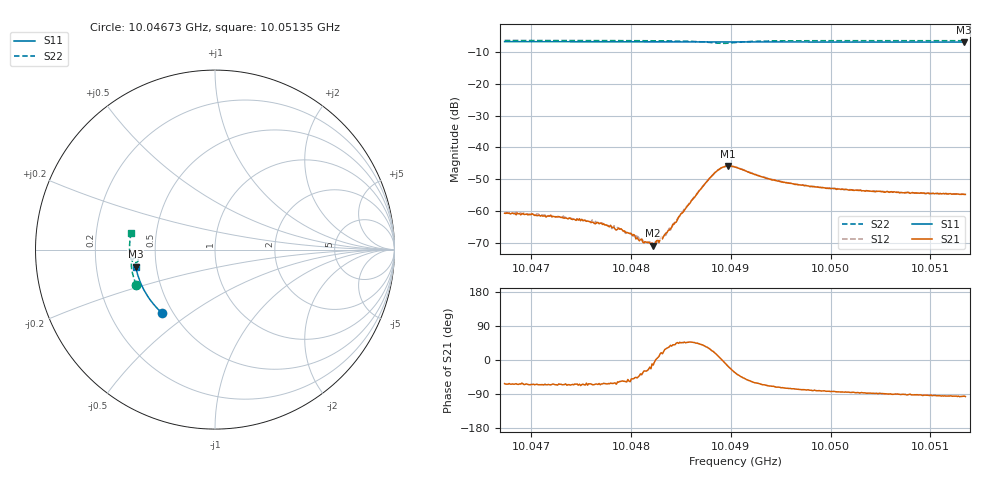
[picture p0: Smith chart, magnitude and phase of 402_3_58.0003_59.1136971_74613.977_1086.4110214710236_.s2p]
#  HZ  S  RI  R  50.00
! Rohde & Schwarz Vector Network Analyzer
! Rohde-Schwarz,ZNB20-2Port,1311601062101988,3.16
! Created: UTC 3/21/2024, 1:08:18 AM
! freq[Hz]  re:S11  im:S11  re:S21  im:S21  re:S12  im:S12  re:S22  im:S22
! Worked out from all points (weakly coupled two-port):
!   401 points, 10.04673 GHz to 10.05135 GHz, reference 50 ohm
!   highest |S21| = -45.90 dB at 10.04897 GHz (marker M1); lowest = -70.9 dB at 10.04822 GHz (marker M2)
!   lowest |S11| = -6.9 dB at 10.05134 GHz (marker M3), VSWR 2.65, Z = 19.1 - j4.57 ohm
!   |S11| at or under -10 dB: nowhere
!   |S22| runs from -7.3 to -6.4 dB; largest |S21 - S12| = 0.00035
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1.0046735e10  -0.2945 -0.3536  0.000424 -0.00081  0.000481 -0.000794  -0.4387 -0.1957
1.00473e10  -0.3213 -0.3277  0.000343 -0.000706  0.000383 -0.000729  -0.4518 -0.1596
1.0047508e10  -0.3306 -0.3176  0.000311 -0.000665  0.000358 -0.00063  -0.4559 -0.146
1.0047716e10  -0.3397 -0.3073  0.000276 -0.000544  0.000325 -0.000552  -0.4596 -0.1317
1.0047796e10  -0.3431 -0.3031  0.000287 -0.000517  0.000308 -0.000487  -0.4609 -0.1261
1.0047854e10  -0.3455 -0.3002  0.000219 -0.000448  0.000313 -0.000444  -0.4618 -0.122
1.00479e10  -0.3474 -0.2978  0.000288 -0.000433  0.000316 -0.000411  -0.4624 -0.1188
1.0048016e10  -0.3522 -0.2919  0.000264 -0.000312  0.000278 -0.0003  -0.4638 -0.1103
1.0048108e10  -0.356 -0.2872  0.000276 -0.000222  0.00028 -0.000233  -0.4649 -0.1034
1.0048223e10  -0.3605 -0.281  0.000276 -6.49e-05  0.000277 -8.2e-06  -0.4658 -0.0944
1.0048281e10  -0.3625 -0.2781  0.00031 5.11e-05  0.000362 5.33e-05  -0.466 -0.0899
1.0048339e10  -0.3649 -0.2749  0.000375 0.000196  0.000353 0.000206  -0.4661 -0.085
1.0048535e10  -0.3722 -0.2642  0.00069 0.000748  0.000667 0.000839  -0.464 -0.0672
1.0048812e10  -0.3818 -0.2486  0.00324 0.00147  0.00315 0.0017  -0.4407 -0.0457
1.0048893e10  -0.3843 -0.2443  0.00458 0.000444  0.00453 0.000755  -0.4297 -0.0524
1.0048974e10  -0.3869 -0.24  0.00486 -0.00147  0.00497 -0.00115  -0.4303 -0.0659
1.0049043e10  -0.3893 -0.2361  0.00408 -0.00269  0.0043 -0.00244  -0.4396 -0.0722
1.0049389e10  -0.4004 -0.2161  0.00114 -0.00295  0.00135 -0.00289  -0.4694 -0.0483
1.0049816e10  -0.4123 -0.1907  0.000389 -0.00238  0.000586 -0.00233  -0.4759 -0.0137
1.0050589e10  -0.4299 -0.1433  1.01e-05 -0.00195  0.000131 -0.00198  -0.4749 0.0411
1.005134e10  -0.4418 -0.0955  -0.000162 -0.00181  -8.39e-05 -0.00181  -0.4674 0.0909
1.0051351e10  -0.4421 -0.0948  -0.000201 -0.0018  -7.61e-05 -0.00185  -0.4673 0.0916
